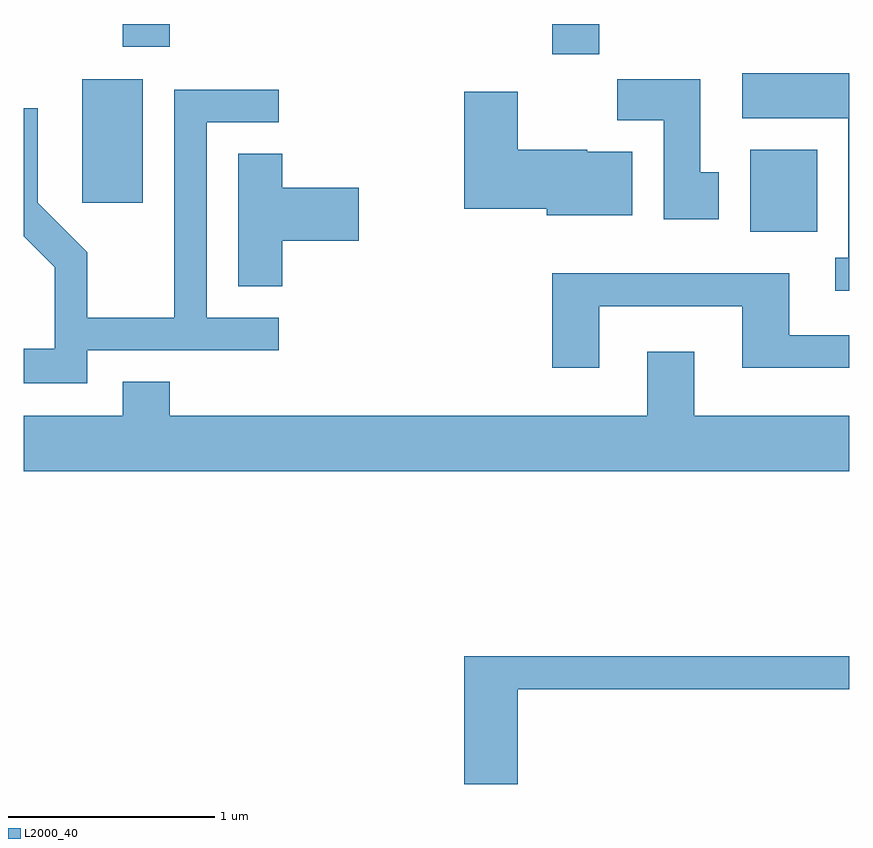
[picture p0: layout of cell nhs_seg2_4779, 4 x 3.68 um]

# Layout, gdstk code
import gdstk
lib = gdstk.Library(unit=1e-6, precision=1e-09)
def R(c, l, rs):  # rectangles x0, y0, x1, y1
    for r in rs: c.add(gdstk.rectangle(r[:2], r[2:], *l))
def P(c, l, *ps):  # polygons
    for p in ps: c.add(gdstk.Polygon(p, *l))
L2000_40 = (2000, 40)

nhs_seg2_4779 = lib.new_cell('nhs_seg2_4779')
R(nhs_seg2_4779, L2000_40, [(329.131,1062.796,329.454,1063.194), (325.896,1062.936,326.189,1063.534), (328.171,1063.656,328.399,1063.802), (326.091,1063.691,326.319,1063.802)])
P(nhs_seg2_4779, L2000_40, [(329.611,1063.564),(329.091,1063.564),(329.091,1063.346),(329.606,1063.346),(329.606,1062.669),(329.543,1062.669),(329.543,1062.511),(329.611,1062.511)],
  [(328.979,1063.084),(328.889,1063.084),(328.889,1063.534),(328.486,1063.534),(328.486,1063.336),(328.711,1063.336),(328.711,1062.856),(328.979,1062.856)],
  [(325.919,1062.221),(326.848,1062.221),(326.848,1062.379),(326.499,1062.379),(326.499,1063.326),(326.848,1063.326),(326.848,1063.484),(326.341,1063.484),(326.341,1062.379),(325.919,1062.379),(325.919,1062.697),(325.679,1062.937),(325.679,1063.393),(325.611,1063.393),(325.611,1062.774),(325.761,1062.624),(325.761,1062.229),(325.611,1062.229),(325.611,1062.061),(325.919,1062.061)],
  [(328.559,1063.184),(328.34,1063.184),(328.34,1063.194),(328.004,1063.194),(328.004,1063.474),(327.746,1063.474),(327.746,1062.906),(328.146,1062.906),(328.146,1062.876),(328.559,1062.876)],
  [(326.864,1062.751),(327.234,1062.751),(327.234,1063.009),(326.864,1063.009),(326.864,1063.174),(326.651,1063.174),(326.651,1062.531),(326.864,1062.531)],
  [(328.399,1062.436),(329.091,1062.436),(329.091,1062.136),(329.611,1062.136),(329.611,1062.294),(329.319,1062.294),(329.319,1062.594),(328.171,1062.594),(328.171,1062.136),(328.399,1062.136)],
  [(329.611,1061.904),(328.859,1061.904),(328.859,1062.214),(328.631,1062.214),(328.631,1061.904),(326.319,1061.904),(326.319,1062.069),(326.091,1062.069),(326.091,1061.904),(325.611,1061.904),(325.611,1061.636),(329.611,1061.636)],
  [(328.004,1060.581),(329.611,1060.581),(329.611,1060.739),(327.746,1060.739),(327.746,1060.121),(328.004,1060.121)])

lib.write_gds('nhs_seg2_4779.gds')
